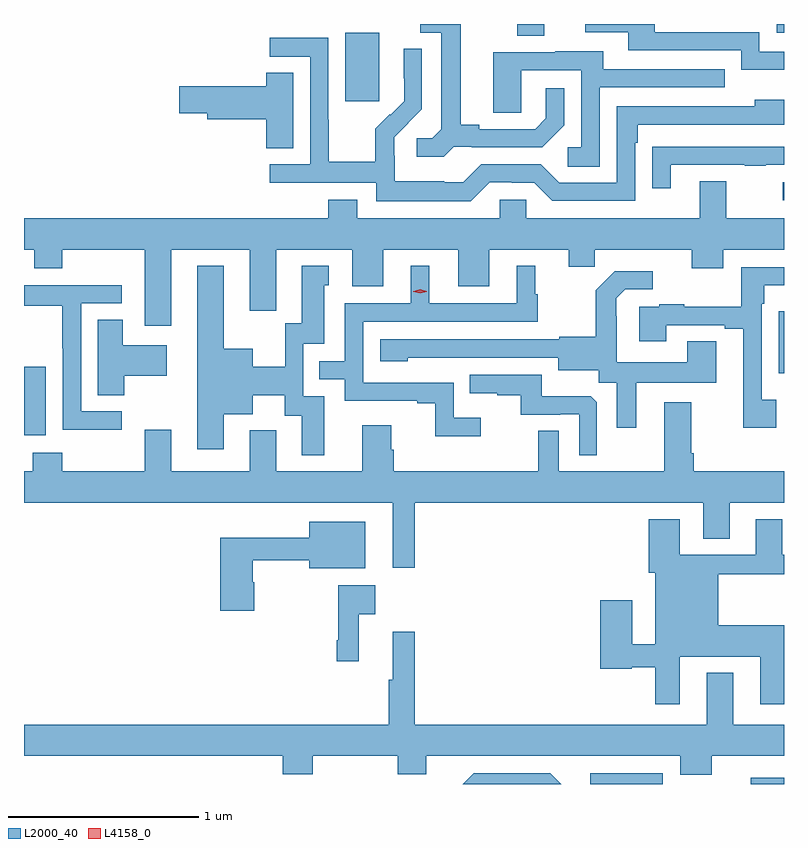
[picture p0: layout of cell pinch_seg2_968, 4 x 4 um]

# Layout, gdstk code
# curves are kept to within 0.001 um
import gdstk
lib = gdstk.Library(unit=1e-6, precision=1e-09)
def R(c, l, rs):  # rectangles x0, y0, x1, y1
    for r in rs: c.add(gdstk.rectangle(r[:2], r[2:], *l))
def P(c, l, *ps):  # polygons
    for p in ps: c.add(gdstk.Polygon(p, *l))
L2000_40 = (2000, 40)
L4158_0 = (4158, 0)

pinch_seg2_968 = lib.new_cell('pinch_seg2_968')
R(pinch_seg2_968, L2000_40, [(171.051,652.815,171.433,652.872), (171.897,652.815,172.072,652.849), (168.072,654.65,168.187,655.011), (172.044,654.978,172.072,655.303), (172.065,655.887,172.072,655.983), (169.763,656.409,169.942,656.77), (170.669,656.752,170.809,656.815), (172.035,656.769,172.072,656.815)])
P(pinch_seg2_968, L2000_40, [(170.334,656.169),(170.428,656.169),(170.428,656.166),(170.8,656.166),(170.916,656.282),(170.916,656.476),(170.819,656.476),(170.819,656.319),(170.762,656.262),(170.467,656.262),(170.467,656.285),(170.371,656.285),(170.371,656.815),(170.157,656.815),(170.157,656.769),(170.267,656.769),(170.267,656.261),(170.22,656.214),(170.139,656.214),(170.139,656.117),(170.282,656.117)],
  [(172.072,656.67),(171.942,656.67),(171.942,656.772),(171.391,656.772),(171.391,656.815),(171.027,656.815),(171.027,656.772),(171.251,656.772),(171.251,656.676),(171.846,656.676),(171.846,656.573),(172.072,656.573)],
  [(170.523,655.983),(170.639,655.983),(170.639,655.98),(170.757,655.98),(170.853,655.884),(171.288,655.884),(171.288,656.189),(171.301,656.189),(171.301,656.286),(172.072,656.286),(172.072,656.416),(171.917,656.416),(171.917,656.382),(171.192,656.382),(171.192,655.98),(170.889,655.98),(170.793,656.076),(170.478,656.076),(170.385,655.983),(170.285,655.983),(170.285,655.987),(170.022,655.987),(170.022,656.121),(170.02,656.121),(170.02,656.218),(170.166,656.366),(170.166,656.684),(170.07,656.684),(170.07,656.53),(170.072,656.53),(170.072,656.408),(170.001,656.337),(169.998,656.34),(169.921,656.263),(169.921,656.089),(169.677,656.089),(169.677,656.312),(169.674,656.312),(169.674,656.742),(169.365,656.742),(169.365,656.643),(169.578,656.643),(169.578,656.076),(169.365,656.076),(169.365,655.98),(169.926,655.98),(169.926,655.883),(170.423,655.883)],
  [(171.102,656.481),(171.761,656.481),(171.761,656.577),(171.121,656.577),(171.121,656.671),(170.867,656.671),(170.867,656.667),(170.543,656.667),(170.543,656.347),(170.688,656.347),(170.688,656.571),(171.006,656.571),(171.006,656.166),(170.934,656.166),(170.934,656.065),(171.102,656.065)],
  [(169.489,656.558),(169.346,656.558),(169.346,656.487),(168.888,656.487),(168.888,656.345),(169.037,656.345),(169.037,656.315),(169.346,656.315),(169.346,656.161),(169.489,656.161)],
  [(171.475,656.073),(171.865,656.073),(171.865,656.068),(171.977,656.068),(171.977,656.073),(172.072,656.073),(172.072,656.169),(171.481,656.169),(171.481,656.168),(171.379,656.168),(171.379,655.95),(171.475,655.95)],
  [(170.939,655.538),(171.077,655.538),(171.077,655.628),(171.587,655.628),(171.587,655.529),(171.751,655.529),(171.751,655.628),(172.072,655.628),(172.072,655.792),(171.769,655.792),(171.769,655.987),(171.629,655.987),(171.629,655.792),(170.715,655.792),(170.715,655.89),(170.577,655.89),(170.577,655.792),(169.825,655.792),(169.825,655.891),(169.673,655.891),(169.673,655.792),(168.072,655.792),(168.072,655.628),(168.125,655.628),(168.125,655.529),(168.273,655.529),(168.273,655.628),(168.707,655.628),(168.707,655.227),(168.847,655.227),(168.847,655.628),(169.259,655.628),(169.259,655.305),(169.399,655.305),(169.399,655.628),(169.799,655.628),(169.799,655.434),(169.963,655.434),(169.963,655.628),(170.357,655.628),(170.357,655.434),(170.521,655.434),(170.521,655.628),(170.939,655.628)],
  [(169.651,654.855),(169.542,654.855),(169.542,655.131),(169.651,655.131),(169.651,655.44),(169.675,655.44),(169.675,655.543),(169.535,655.543),(169.535,655.239),(169.446,655.239),(169.446,655.012),(169.276,655.012),(169.276,655.105),(169.123,655.105),(169.123,655.543),(168.983,655.543),(168.983,654.576),(169.123,654.576),(169.123,654.761),(169.276,654.761),(169.276,654.86),(169.445,654.86),(169.445,654.754),(169.535,654.754),(169.535,654.546),(169.651,654.546)],
  [(170.476,654.742),(170.334,654.742),(170.334,654.927),(169.857,654.927),(169.857,655.248),(170.776,655.248),(170.776,655.392),(170.764,655.392),(170.764,655.543),(170.666,655.543),(170.666,655.344),(170.206,655.344),(170.206,655.543),(170.108,655.543),(170.108,655.344),(169.761,655.344),(169.761,655.041),(169.627,655.041),(169.627,654.945),(169.761,654.945),(169.761,654.831),(170.141,654.831),(170.141,654.819),(170.236,654.819),(170.236,654.644),(170.476,654.644)],
  [(172.03,654.838),(171.954,654.838),(171.954,655.343),(171.967,655.343),(171.967,655.439),(172.072,655.439),(172.072,655.536),(171.846,655.536),(171.846,655.328),(171.547,655.328),(171.547,655.339),(171.415,655.339),(171.415,655.326),(171.311,655.326),(171.311,655.146),(171.451,655.146),(171.451,655.23),(171.761,655.23),(171.761,655.212),(171.857,655.212),(171.857,654.69),(172.03,654.69)],
  [(171.295,654.926),(171.715,654.926),(171.715,655.145),(171.563,655.145),(171.563,655.036),(171.192,655.036),(171.192,655.277),(171.19,655.277),(171.19,655.372),(171.237,655.419),(171.382,655.419),(171.382,655.513),(171.181,655.513),(171.081,655.413),(171.081,655.168),(170.889,655.168),(170.889,655.155),(169.947,655.155),(169.947,655.04),(170.091,655.04),(170.091,655.058),(170.885,655.059),(170.885,654.992),(171.096,654.992),(171.096,654.928),(171.191,654.928),(171.191,654.69),(171.295,654.69)],
  [(168.586,654.777),(168.372,654.777),(168.372,655.344),(168.586,655.344),(168.586,655.44),(168.072,655.44),(168.072,655.332),(168.274,655.332),(168.274,655.108),(168.276,655.108),(168.276,654.679),(168.586,654.679)],
  [(168.6,654.965),(168.823,654.965),(168.823,655.123),(168.592,655.123),(168.592,655.259),(168.461,655.259),(168.461,654.862),(168.6,654.862)],
  [(171.087,654.825),(171.055,654.857),(170.797,654.857),(170.797,654.969),(170.419,654.969),(170.419,654.872),(170.563,654.872),(170.563,654.861),(170.687,654.861),(170.687,654.759),(170.894,654.759),(170.894,654.762),(170.994,654.762),(170.994,654.545),(171.087,654.545)],
  [(170.129,654.296),(171.647,654.296),(171.647,654.106),(171.787,654.106),(171.787,654.296),(172.072,654.296),(172.072,654.46),(171.596,654.46),(171.596,654.556),(171.583,654.556),(171.583,654.823),(171.443,654.823),(171.443,654.46),(170.886,654.46),(170.886,654.674),(170.778,654.674),(170.778,654.46),(170.018,654.46),(170.018,654.573),(170.005,654.573),(170.005,654.703),(169.853,654.703),(169.853,654.46),(169.399,654.46),(169.399,654.676),(169.259,654.676),(169.259,654.46),(168.847,654.46),(168.847,654.679),(168.707,654.679),(168.707,654.46),(168.273,654.46),(168.273,654.559),(168.118,654.559),(168.118,654.46),(168.072,654.46),(168.072,654.296),(170.012,654.296),(170.012,653.952),(170.129,653.952)],
  [(171.523,653.486),(171.947,653.486),(171.947,653.235),(172.072,653.235),(172.072,653.65),(171.727,653.65),(171.727,653.92),(172.072,653.92),(172.072,654.021),(172.063,654.021),(172.063,654.208),(171.923,654.208),(171.923,654.021),(171.523,654.021),(171.523,654.208),(171.359,654.208),(171.359,653.928),(171.395,653.928),(171.395,653.551),(171.274,653.551),(171.274,653.782),(171.104,653.782),(171.104,653.422),(171.27,653.422),(171.27,653.43),(171.395,653.43),(171.395,653.235),(171.523,653.235)],
  [(169.284,653.877),(169.276,653.877),(169.276,653.992),(169.574,653.992),(169.574,653.951),(169.867,653.951),(169.867,654.196),(169.574,654.196),(169.574,654.11),(169.106,654.11),(169.106,653.727),(169.284,653.727)],
  [(169.835,653.708),(169.921,653.708),(169.921,653.86),(169.725,653.86),(169.725,653.572),(169.717,653.572),(169.717,653.46),(169.835,653.46)],
  [(170.038,652.866),(170.188,652.866),(170.188,652.964),(171.527,652.964),(171.527,652.865),(171.691,652.865),(171.691,652.964),(172.072,652.964),(172.072,653.128),(171.805,653.128),(171.805,653.401),(171.665,653.401),(171.665,653.128),(170.129,653.128),(170.129,653.617),(170.012,653.617),(170.012,653.364),(169.993,653.364),(169.993,653.128),(168.072,653.128),(168.072,652.964),(169.433,652.964),(169.433,652.866),(169.593,652.866),(169.593,652.964),(170.038,652.964)],
  [(170.842,652.872),(170.439,652.872),(170.382,652.815),(170.899,652.815)])
P(pinch_seg2_968, L4158_0, [(170.157,655.398),(170.121,655.407),(170.121,655.408),(170.121,655.408),(170.157,655.418),(170.193,655.408),(170.193,655.408),(170.193,655.407)])

lib.write_gds('pinch_seg2_968.gds')
